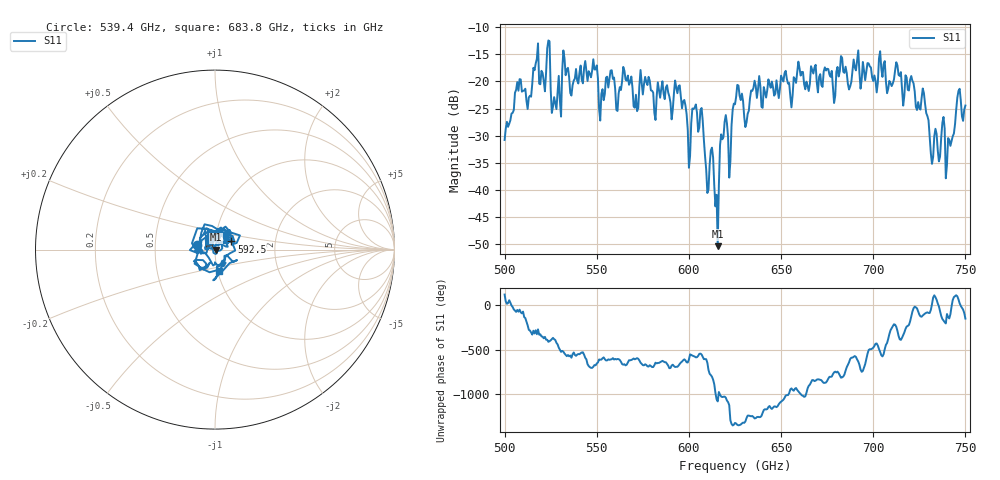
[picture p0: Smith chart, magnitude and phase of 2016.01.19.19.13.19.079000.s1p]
!Created with skrf (http://scikit-rf.org).
# GHz S RI R 50.0
!freq ReS11 ImS11
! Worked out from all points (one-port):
!   401 points, 500 GHz to 750 GHz, reference 50 ohm
!   lowest |S11| = -50.4 dB at 615.6 GHz (marker M1), VSWR 1.01, Z = 50.3 + j0.00192 ohm
!   |S11| at or under -10 dB: start of sweep to end of sweep
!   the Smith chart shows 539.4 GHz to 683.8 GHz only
!   S11 on the Smith chart (normalised r, x): 539.4 GHz: 0.82, +0.04; 592.5 GHz: 1.20, +0.11; 683.8 GHz: 1.01, -0.25
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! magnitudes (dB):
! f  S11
! 500 GHz  -30.8
! 507.5 GHz  -21.7
! 513.1 GHz  -23.0
! 516.9 GHz  -16.7
! 523.8 GHz  -12.4
! 526.9 GHz  -22.9
! 531.2 GHz  -18.0
! 539.4 GHz  -19.9
! 562.5 GHz  -21.1
! 592.5 GHz  -19.8
! 593.8 GHz  -22.2
! 600 GHz  -35.9
! 603.1 GHz  -24.8
! 606.9 GHz  -24.9
! 609.4 GHz  -36.3
! 615.6 GHz  -50.4
! 618.1 GHz  -30.7
! 622.5 GHz  -34.7
! 625 GHz  -24.2
! 656.2 GHz  -22.6
! 683.8 GHz  -18.2
! 687.5 GHz  -20.9
! 718.8 GHz  -21.5
! 727.5 GHz  -22.2
! 731.9 GHz  -35.2
! 740.6 GHz  -30.4
! 746.2 GHz  -21.7
! 750 GHz  -24.4
